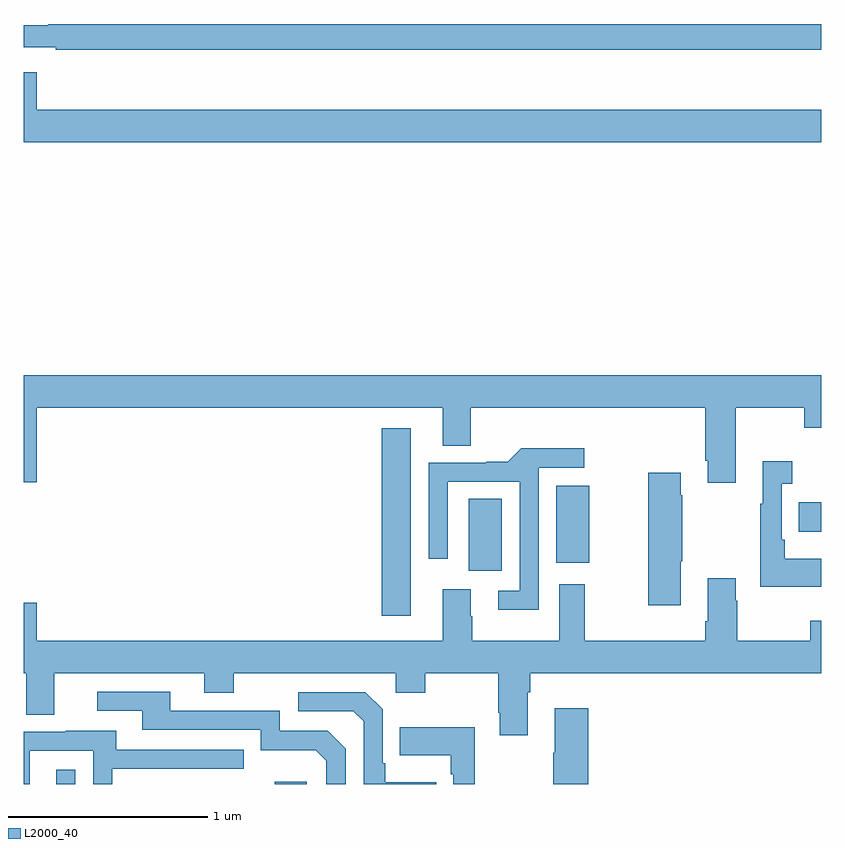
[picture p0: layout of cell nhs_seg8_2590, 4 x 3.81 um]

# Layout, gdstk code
import gdstk
lib = gdstk.Library(unit=1e-6, precision=1e-09)
def R(c, l, rs):  # rectangles x0, y0, x1, y1
    for r in rs: c.add(gdstk.rectangle(r[:2], r[2:], *l))
def P(c, l, *ps):  # polygons
    for p in ps: c.add(gdstk.Polygon(p, *l))
L2000_40 = (2000, 40)

nhs_seg8_2590 = lib.new_cell('nhs_seg8_2590')
R(nhs_seg8_2590, L2000_40, [(273.161,1159.9,273.258,1159.972), (274.259,1159.9,274.42,1159.912), (274.796,1160.745,274.942,1161.685), (275.231,1160.97,275.398,1161.332), (275.672,1161.011,275.836,1161.397), (276.889,1161.167,277,1161.315)])
P(nhs_seg8_2590, L2000_40, [(277,1163.714),(273.123,1163.714),(273.123,1163.707),(273,1163.707),(273,1163.598),(273.16,1163.598),(273.16,1163.586),(277,1163.586)],
  [(277,1163.284),(273.064,1163.284),(273.064,1163.473),(273,1163.473),(273,1163.12),(277,1163.12)],
  [(276.571,1161.788),(276.916,1161.788),(276.916,1161.689),(277,1161.689),(277,1161.952),(273,1161.952),(273,1161.414),(273.064,1161.414),(273.064,1161.788),(275.102,1161.788),(275.102,1161.598),(275.242,1161.598),(275.242,1161.788),(276.419,1161.788),(276.419,1161.523),(276.431,1161.523),(276.431,1161.411),(276.571,1161.411)],
  [(275.583,1161.486),(275.812,1161.486),(275.812,1161.584),(275.495,1161.584),(275.429,1161.518),(275.321,1161.518),(275.321,1161.513),(275.031,1161.513),(275.031,1161.03),(275.127,1161.03),(275.127,1161.417),(275.487,1161.417),(275.487,1160.871),(275.379,1160.871),(275.379,1160.774),(275.583,1160.774)],
  [(277,1161.031),(276.817,1161.031),(276.817,1161.127),(276.804,1161.127),(276.804,1161.407),(276.856,1161.407),(276.856,1161.52),(276.707,1161.52),(276.707,1161.307),(276.696,1161.307),(276.696,1160.891),(277,1160.891)],
  [(276.295,1161.019),(276.303,1161.019),(276.303,1161.35),(276.295,1161.35),(276.295,1161.463),(276.133,1161.463),(276.133,1160.796),(276.295,1160.796)],
  [(275.527,1160.36),(275.54,1160.36),(275.54,1160.456),(277,1160.456),(277,1160.719),(276.946,1160.719),(276.946,1160.62),(276.579,1160.62),(276.579,1160.819),(276.571,1160.819),(276.571,1160.932),(276.431,1160.932),(276.431,1160.716),(276.419,1160.716),(276.419,1160.62),(275.813,1160.62),(275.813,1160.902),(275.687,1160.902),(275.687,1160.62),(275.25,1160.62),(275.25,1160.741),(275.242,1160.741),(275.242,1160.878),(275.102,1160.878),(275.102,1160.62),(273.064,1160.62),(273.064,1160.809),(273,1160.809),(273,1160.456),(273.011,1160.456),(273.011,1160.248),(273.151,1160.248),(273.151,1160.456),(273.905,1160.456),(273.905,1160.357),(274.053,1160.357),(274.053,1160.456),(274.866,1160.456),(274.866,1160.357),(275.013,1160.357),(275.013,1160.456),(275.38,1160.456),(275.38,1160.257),(275.387,1160.257),(275.387,1160.145),(275.527,1160.145)],
  [(274.614,1160.076),(274.524,1160.166),(274.284,1160.166),(274.284,1160.268),(273.733,1160.268),(273.733,1160.364),(273.369,1160.364),(273.369,1160.268),(273.593,1160.268),(273.593,1160.172),(274.188,1160.172),(274.188,1160.069),(274.465,1160.069),(274.518,1160.016),(274.518,1159.9),(274.614,1159.9)],
  [(275.069,1159.909),(274.813,1159.909),(274.813,1160.005),(274.8,1160.005),(274.8,1160.274),(274.713,1160.361),(274.377,1160.361),(274.377,1160.265),(274.653,1160.265),(274.704,1160.214),(274.704,1159.9),(275.069,1159.9)],
  [(275.831,1160.281),(275.663,1160.281),(275.663,1160.057),(275.656,1160.057),(275.656,1159.9),(275.831,1159.9)],
  [(275.263,1160.185),(274.885,1160.185),(274.885,1160.045),(275.142,1160.045),(275.142,1159.949),(275.154,1159.949),(275.154,1159.9),(275.263,1159.9)],
  [(273.03,1160.067),(273.348,1160.067),(273.348,1159.9),(273.444,1159.9),(273.444,1159.977),(274.103,1159.977),(274.103,1160.073),(273.463,1160.073),(273.463,1160.167),(273.209,1160.167),(273.209,1160.163),(273,1160.163),(273,1159.9),(273.03,1159.9)])

lib.write_gds('nhs_seg8_2590.gds')
